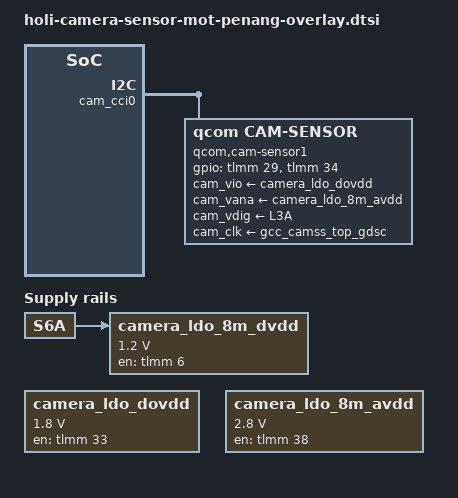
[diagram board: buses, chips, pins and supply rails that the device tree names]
#include <dt-bindings/clock/qcom,gcc-holi.h>
#include <dt-bindings/msm/msm-camera.h>

&tlmm {
	cam_sensor_mclk0_active: cam_sensor_mclk0_active {
		/* MCLK 0*/
		mux {
			pins = "gpio29";
			function = "cam_mclk";
		};

		config {
			pins = "gpio29";
			bias-disable; /* No PULL */
			drive-strength = <2>; /* 2 MA */
		};
	};

	cam_sensor_mclk0_suspend: cam_sensor_mclk0_suspend {
		/* MCLK 0*/
		mux {
			pins = "gpio29";
			function = "cam_mclk";
		};

		config {
			pins = "gpio29";
			bias-pull-down; /* PULL DOWN */
			drive-strength = <2>; /* 2 MA */
		};
	};

	cam_sensor_front_reset_active: cam_sensor_front_reset_active {
		mux {
			pins = "gpio34";
			function = "gpio";
		};

		config {
			pins = "gpio34";
			bias-disable; /* No PULL */
			drive-strength = <2>; /* 2 MA */
		};
	};

	cam_sensor_front_reset_suspend: cam_sensor_front_reset_suspend {
		mux {
			pins = "gpio34";
			function = "gpio";
		};

		config {
			pins = "gpio34";
			bias-pull-down; /* PULL DOWN */
			drive-strength = <2>; /* 2 MA */
			output-low;
		};
	};

	camera_ldo_dovdd_en: camera_ldo_dovdd_en {
		mux {
			pins = "gpio33";
			function = "gpio";
		};

		config {
			pins = "gpio33";
			bias-disable; /* No PULL */
			drive-strength = <4>; /* 4 MA */
		};
	};

	camera_ldo_8m_dvdd_en: camera_ldo_8m_dvdd_en {
		mux {
			pins = "gpio12";
			function = "gpio";
		};

		config {
			pins = "gpio12";
			bias-disable; /* No PULL */
			drive-strength = <4>; /* 4 MA */
		};
	};

	camera_ldo_8m_avdd_en: camera_ldo_8m_avdd_en {
		mux {
			pins = "gpio38";
			function = "gpio";
		};

		config {
			pins = "gpio38";
			bias-disable; /* No PULL */
			drive-strength = <4>; /* 4 MA */
		};
	};

};

&soc {
	camera_ldo_dovdd: gpio-regulator@0 {
		compatible = "regulator-fixed";
		reg = <0x00 0x00>;
		regulator-name = "camera_ldo_dovdd";
		regulator-min-microvolt = <1800000>;
		regulator-max-microvolt = <1800000>;
		regulator-enable-ramp-delay = <233>;
		enable-active-high;
		gpio = <&tlmm 33 0>;
		pinctrl-names = "default";
		pinctrl-0 = <&camera_ldo_dovdd_en>;
	};

	camera_ldo_8m_dvdd: gpio-regulator@3 {
		compatible = "regulator-fixed";
		reg = <0x03 0x00>;
		regulator-name = "camera_ldo_8m_dvdd";
		regulator-min-microvolt = <1200000>;
		regulator-max-microvolt = <1200000>;
		regulator-enable-ramp-delay = <233>;
		enable-active-high;
		gpio = <&tlmm 6 0>;
		pinctrl-names = "default";
		pinctrl-0 = <&camera_ldo_8m_dvdd_en>;
		vin-supply = <&S6A>;
	};

	camera_ldo_8m_avdd: gpio-regulator@4 {
		compatible = "regulator-fixed";
		reg = <0x04 0x00>;
		regulator-name = "camera_ldo_8m_avdd";
		regulator-min-microvolt = <2800000>;
		regulator-max-microvolt = <2800000>;
		regulator-enable-ramp-delay = <233>;
		enable-active-high;
		gpio = <&tlmm 38 0>;
		pinctrl-names = "default";
		pinctrl-0 = <&camera_ldo_8m_avdd_en>;
	};

	qcom,cam-res-mgr {
		compatible = "qcom,cam-res-mgr";
		status = "ok";
		gpios-shared = <407>;
		pinctrl-names = "cam_res_mgr_default", "cam_res_mgr_suspend";
		pinctrl-0 = <&cam_flash_hwen_active>;
		pinctrl-1 = <&cam_flash_hwen_suspend>;
	};
};

&cam_cci0 {
	/*MOTO Front 8M*/
	qcom,cam-sensor1 {
		cell-index = <1>;
		compatible = "qcom,cam-sensor";
		csiphy-sd-index = <3>;
		sensor-position-roll = <270>;
		sensor-position-pitch = <0>;
		sensor-position-yaw = <0>;
		cam_vio-supply = <&camera_ldo_dovdd>;
		cam_vana-supply = <&camera_ldo_8m_avdd>;
		cam_vdig-supply = <&L3A>;    // PMIC
		// cam_vdig-supply = <&camera_ldo_8m_dvdd>;    // LDO
		cam_clk-supply = <&gcc_camss_top_gdsc>;
		regulator-names = "cam_vio", "cam_vana", "cam_vdig",
			"cam_clk";
		rgltr-cntrl-support;
		pwm-switch;
		rgltr-min-voltage = <1800000 2800000 1200000 0>;
		rgltr-max-voltage = <1800000 2800000 1200000 0>;
		rgltr-load-current = <120000 80000 1200000 0>;
		gpio-no-mux = <0>;
		pinctrl-names = "cam_default", "cam_suspend";
		pinctrl-0 = <&cam_sensor_mclk0_active
				&cam_sensor_front_reset_active>;
		pinctrl-1 = <&cam_sensor_mclk0_suspend
				&cam_sensor_front_reset_suspend>;
		gpios = <&tlmm 29 0>,
			<&tlmm 34 0>;
		gpio-reset = <1>;
		gpio-req-tbl-num = <0 1>;
		gpio-req-tbl-flags = <1 0>;
		gpio-req-tbl-label = "CAMIF_MCLK0",
					"CAM_RESET0";
		sensor-mode = <0>;
		cci-master = <0>;
		status = "ok";
		clocks = <&gcc GCC_CAMSS_MCLK0_CLK>;
		clock-names = "cam_clk";
		clock-cntl-level = "turbo";
		clock-rates = <24000000>;
	};
};
